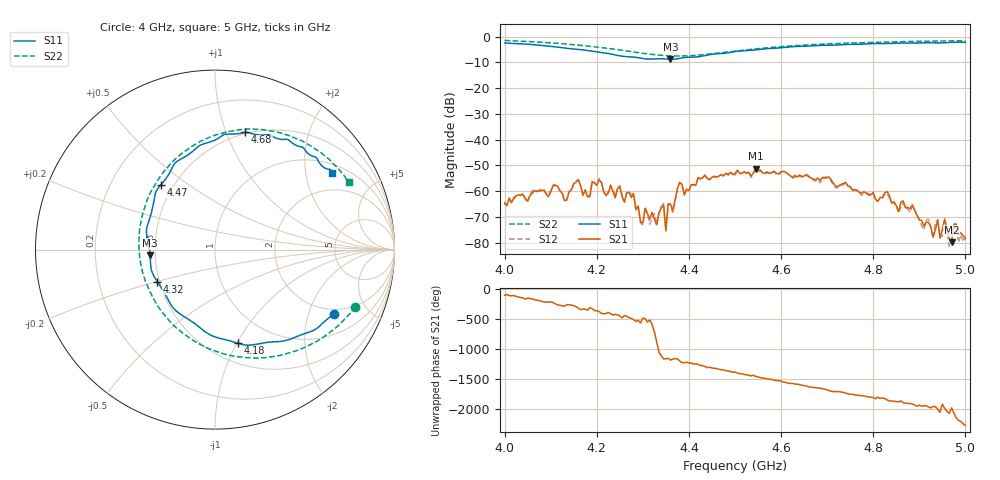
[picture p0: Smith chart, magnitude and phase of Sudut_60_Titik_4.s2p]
# Hz S RI R 50
! CMT, C1220, 16058040, 17.2.0/1
! Date: 15/08/2018 12:27:47
! Data: Format (Calibration Info)
! Freq  S11: Re/Im (F2)  S21: Re/Im (F2)  S12: Re/Im (F2)  S22: Re/Im (F2)
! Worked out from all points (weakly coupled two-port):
!   201 points, 4 GHz to 5 GHz, reference 50 ohm
!   highest |S21| = -51.26 dB at 4.545 GHz (marker M1); lowest = -79.9 dB at 4.97 GHz (marker M2)
!   lowest |S11| = -8.8 dB at 4.36 GHz (marker M3), VSWR 2.14, Z = 23.4 - j1.7 ohm
!   |S11| at or under -10 dB: nowhere
!   |S22| runs from -7.5 to -1.5 dB; largest |S21 - S12| = 0.00016
!   S11 on the Smith chart (normalised r, x): 4 GHz: 1.79, -2.96; 4.18 GHz: 0.69, -1.01; 4.32 GHz: 0.49, -0.20; 4.47 GHz: 0.43, +0.40; 4.68 GHz: 0.49, +1.17; 5 GHz: 1.31, +2.82
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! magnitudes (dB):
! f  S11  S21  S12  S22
! 4 GHz  -2.5  -64.5  -65.0  -1.5
! 4.17 GHz  -5.1  -61.5  -61.7  -3.4
! 4.18 GHz  -5.4  -62.2  -61.7  -3.6
! 4.25 GHz  -7.5  -58.3  -57.8  -5.2
! 4.295 GHz  -8.4  -72.0  -72.3  -6.3
! 4.32 GHz  -8.7  -68.2  -70.5  -6.9
! 4.335 GHz  -8.6  -68.4  -68.5  -7.2
! 4.345 GHz  -8.6  -65.4  -64.7  -7.3
! 4.35 GHz  -8.7  -75.4  -75.3  -7.4
! 4.36 GHz  -8.8  -65.0  -65.6  -7.5
! 4.38 GHz  -8.4  -56.6  -56.6  -7.5
! 4.47 GHz  -6.5  -53.5  -53.6  -6.3
! 4.5 GHz  -5.8  -53.2  -53.7  -5.6
! 4.545 GHz  -5.1  -51.3  -51.3  -4.8
! 4.67 GHz  -3.5  -55.3  -55.6  -3.1
! 4.68 GHz  -3.4  -54.9  -55.4  -3.0
! 4.835 GHz  -2.6  -61.7  -62.7  -2.1
! 4.93 GHz  -2.4  -77.8  -78.4  -1.7
! 4.955 GHz  -2.4  -70.8  -71.5  -1.7
! 4.97 GHz  -2.2  -79.9  -79.7  -1.6
! 4.975 GHz  -2.1  -72.8  -74.2  -1.6
! 5 GHz  -2.2  -78.5  -77.3  -1.6
